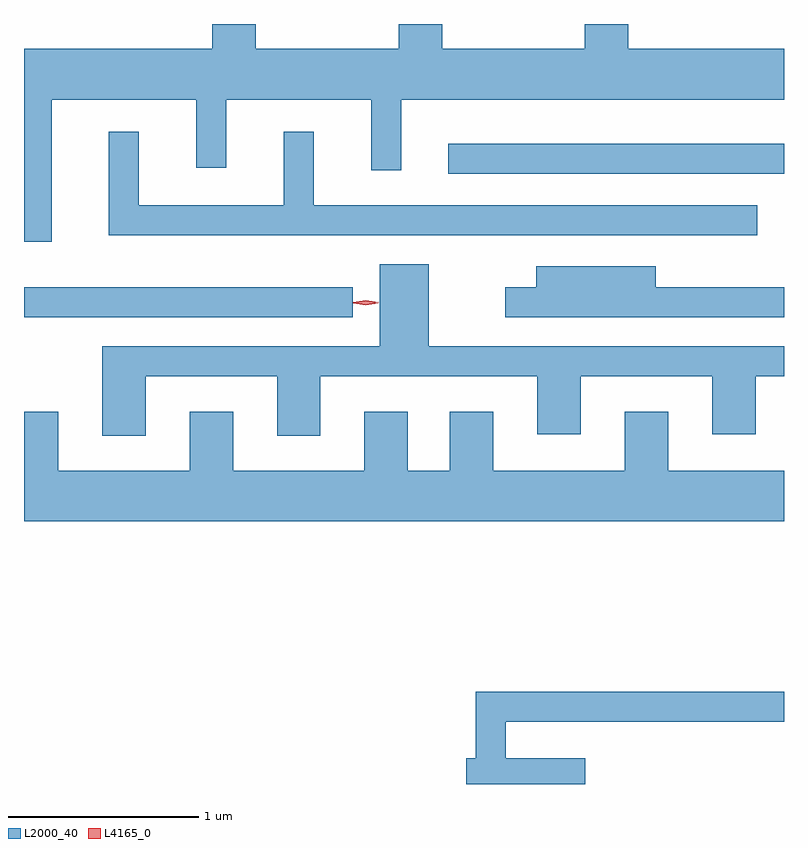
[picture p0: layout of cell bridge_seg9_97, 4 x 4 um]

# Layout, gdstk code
import gdstk
lib = gdstk.Library(unit=1e-6, precision=1e-09)
def R(c, l, rs):  # rectangles x0, y0, x1, y1
    for r in rs: c.add(gdstk.rectangle(r[:2], r[2:], *l))
def P(c, l, *ps):  # polygons
    for p in ps: c.add(gdstk.Polygon(p, *l))
L2000_40 = (2000, 40)
L4165_0 = (4165, 0)

bridge_seg9_97 = lib.new_cell('bridge_seg9_97')
R(bridge_seg9_97, L2000_40, [(1816.149,1979.571,1817.878,1979.729), (1818.383,1980.326,1820.149,1980.484)])
P(bridge_seg9_97, L2000_40, [(1816.294,1980.716),(1817.056,1980.716),(1817.056,1980.358),(1817.214,1980.358),(1817.214,1980.716),(1817.976,1980.716),(1817.976,1980.343),(1818.134,1980.343),(1818.134,1980.716),(1820.149,1980.716),(1820.149,1980.984),(1819.329,1980.984),(1819.329,1981.114),(1819.101,1981.114),(1819.101,1980.984),(1818.349,1980.984),(1818.349,1981.114),(1818.121,1981.114),(1818.121,1980.984),(1817.369,1980.984),(1817.369,1981.114),(1817.141,1981.114),(1817.141,1980.984),(1816.149,1980.984),(1816.149,1979.968),(1816.294,1979.968)],
  [(1820.008,1980.159),(1817.674,1980.159),(1817.674,1980.548),(1817.516,1980.548),(1817.516,1980.159),(1816.754,1980.159),(1816.754,1980.548),(1816.596,1980.548),(1816.596,1980.001),(1820.008,1980.001)],
  [(1816.789,1979.261),(1817.481,1979.261),(1817.481,1978.946),(1817.709,1978.946),(1817.709,1979.261),(1818.851,1979.261),(1818.851,1978.956),(1819.079,1978.956),(1819.079,1979.261),(1819.771,1979.261),(1819.771,1978.956),(1819.999,1978.956),(1819.999,1979.261),(1820.149,1979.261),(1820.149,1979.419),(1818.279,1979.419),(1818.279,1979.849),(1818.021,1979.849),(1818.021,1979.419),(1816.561,1979.419),(1816.561,1978.946),(1816.789,1978.946)],
  [(1820.149,1979.729),(1819.474,1979.729),(1819.474,1979.839),(1818.846,1979.839),(1818.846,1979.729),(1818.683,1979.729),(1818.683,1979.571),(1820.149,1979.571)],
  [(1820.149,1978.764),(1819.539,1978.764),(1819.539,1979.074),(1819.311,1979.074),(1819.311,1978.764),(1818.619,1978.764),(1818.619,1979.074),(1818.391,1979.074),(1818.391,1978.764),(1818.169,1978.764),(1818.169,1979.074),(1817.941,1979.074),(1817.941,1978.764),(1817.249,1978.764),(1817.249,1979.074),(1817.021,1979.074),(1817.021,1978.764),(1816.329,1978.764),(1816.329,1979.074),(1816.149,1979.074),(1816.149,1978.496),(1820.149,1978.496)],
  [(1819.104,1977.249),(1818.684,1977.249),(1818.684,1977.441),(1820.149,1977.441),(1820.149,1977.599),(1818.526,1977.599),(1818.526,1977.249),(1818.476,1977.249),(1818.476,1977.114),(1819.104,1977.114)])
P(bridge_seg9_97, L4165_0, [(1817.948,1979.635),(1817.883,1979.645),(1817.882,1979.646),(1817.883,1979.646),(1817.948,1979.655),(1818.014,1979.644),(1818.014,1979.644),(1818.014,1979.644)],
  [(1817.948,1979.639),(1817.879,1979.649),(1817.879,1979.649),(1817.879,1979.65),(1817.948,1979.659),(1818.016,1979.65),(1818.017,1979.649),(1818.016,1979.649)])

lib.write_gds('bridge_seg9_97.gds')
